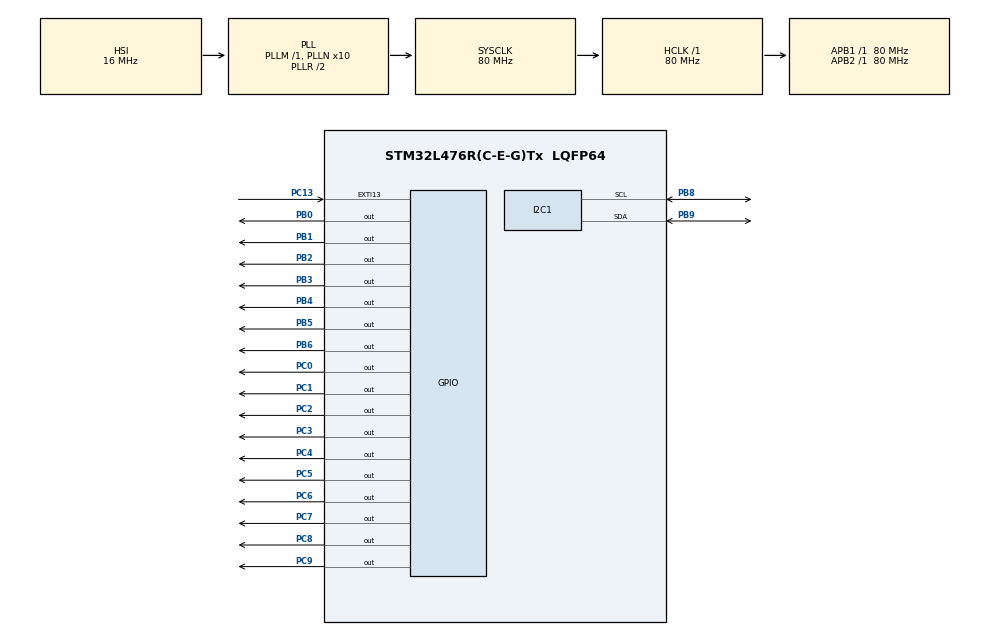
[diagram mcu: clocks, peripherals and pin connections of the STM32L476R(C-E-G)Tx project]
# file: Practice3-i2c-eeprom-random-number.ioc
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FREERTOS.Tasks01=defaultTask,24,128,StartDefaultTask,Default,NULL,Dynamic,NULL,NULL
I2C1.I2C_Fall_Time=0
I2C1.I2C_Rise_Time=0
I2C1.Timing=0x10909CEC
Mcu.Family=STM32L4
Mcu.Name=STM32L476R(C-E-G)Tx
Mcu.Package=LQFP64
NVIC.EXTI15_10_IRQn=true\:5\:0\:false\:false\:true\:true\:true\:true\:true
NVIC.PriorityGroup=NVIC_PRIORITYGROUP_4
NVIC.TIM2_IRQn=true\:5\:0\:false\:false\:true\:true\:true\:true\:true
PB0.Signal=GPIO_Output
PB1.Signal=GPIO_Output
PB2.Signal=GPIO_Output
PB3\ (JTDO-TRACESWO).Signal=GPIO_Output
PB4\ (NJTRST).Signal=GPIO_Output
PB5.Signal=GPIO_Output
PB6.Signal=GPIO_Output
PB8.Mode=I2C
PB8.Signal=I2C1_SCL
PB9.Mode=I2C
PB9.Signal=I2C1_SDA
PC0.Signal=GPIO_Output
PC1.Signal=GPIO_Output
PC13.GPIO_ModeDefaultEXTI=GPIO_MODE_IT_FALLING
PC13.Signal=GPXTI13
PC2.Signal=GPIO_Output
PC3.Signal=GPIO_Output
PC4.Signal=GPIO_Output
PC5.Signal=GPIO_Output
PC6.Signal=GPIO_Output
PC7.Signal=GPIO_Output
PC8.Signal=GPIO_Output
PC9.Signal=GPIO_Output
ProjectManager.HeapSize=0x200
ProjectManager.StackSize=0x400
ProjectManager.TargetToolchain=STM32CubeIDE
RCC.ADCFreq_Value=64000000
RCC.AHBFreq_Value=80000000
RCC.APB1Freq_Value=80000000
RCC.APB1TimFreq_Value=80000000
RCC.APB2Freq_Value=80000000
RCC.APB2TimFreq_Value=80000000
RCC.CortexFreq_Value=80000000
RCC.HCLKFreq_Value=80000000
RCC.HSE_VALUE=8000000
RCC.HSI_VALUE=16000000
RCC.LSE_VALUE=32768
RCC.MSI_VALUE=4000000
RCC.PLLN=10
RCC.PLLSourceVirtual=RCC_PLLSOURCE_HSI
RCC.PREFETCH_ENABLE=1
RCC.SYSCLKFreq_VALUE=80000000
RCC.SYSCLKSource=RCC_SYSCLKSOURCE_PLLCLK
RCC.USBFreq_Value=64000000
RCC.VCOOutputFreq_Value=160000000
TIM2.AutoReloadPreload=TIM_AUTORELOAD_PRELOAD_ENABLE
TIM2.ClockDivision=TIM_CLOCKDIVISION_DIV2
TIM2.CounterMode=TIM_COUNTERMODE_DOWN
TIM2.Period=7
TIM2.Prescaler=39999
VP_FREERTOS_VS_CMSIS_V2.Mode=CMSIS_V2
VP_TIM2_VS_ClockSourceINT.Mode=Internal
board=NUCLEO-L476RG

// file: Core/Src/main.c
/* USER CODE BEGIN Header */
/**
  ******************************************************************************
  * @file           : main.c
  * @brief          : Main program body
  ******************************************************************************
  * @attention
  *
  * Copyright (c) 2025 STMicroelectronics.
  * All rights reserved.
  *
  * This software is licensed under terms that can be found in the LICENSE file
  * in the root directory of this software component.
  * If no LICENSE file comes with this software, it is provided AS-IS.
  *
  ******************************************************************************
  */
/* USER CODE END Header */
#include "main.h"
#include "cmsis_os.h"

/* USER CODE BEGIN Includes */
#include "string.h"    //for strlen()
#include "stdio.h"    //for sprintf()
#include "stdlib.h"    //for srand()
#include "lcd.h"
/* USER CODE END Includes */

I2C_HandleTypeDef hi2c1;

TIM_HandleTypeDef htim2;

/* Definitions for defaultTask */
osThreadId_t defaultTaskHandle;
const osThreadAttr_t defaultTask_attributes = {
  .name = "defaultTask",
  .stack_size = 128 * 4,
  .priority = (osPriority_t) osPriorityNormal,
};

void SystemClock_Config(void);
static void MX_GPIO_Init(void);
static void MX_I2C1_Init(void);
static void MX_TIM2_Init(void);
void StartDefaultTask(void *argument);

/* USER CODE BEGIN 0 */

uint8_t click_flag = 0;
char I2C_ADDRESS = 0xA0;    //write address is 0xA0
char read_data[5] = {0};    //read data
uint8_t SevenSegmentStep = 0;    //7 segment display step
char DigitNumberArray[] = "    ";    //7 segment digit array

void HAL_GPIO_EXTI_Callback(uint16_t GPIO_Pin) {
  //click the onboard button
  if(GPIO_Pin == GPIO_PIN_13) {
	SevenSegmentStep = 0;    //reset 7 segment display step
	memset(DigitNumberArray, ' ', 4);    //reset 7 segment digit array
	click_flag = 1;    //click flag on
  }
}

//read EEPROM
void READ_EEPROM(uint16_t MemAddress, uint8_t *pData, uint16_t length) {
  uint8_t address[2];
  address[0] = (uint8_t)((MemAddress & 0xFF00) >> 8);    //move data to right
  address[1] = (uint8_t)(MemAddress & 0x00FF);    //retrieve the right data
  HAL_I2C_Master_Transmit(&hi2c1, I2C_ADDRESS, address, 2, HAL_MAX_DELAY);    //transmit read command
  HAL_I2C_Master_Receive(&hi2c1, (I2C_ADDRESS + 0x01), pData, length, HAL_MAX_DELAY);    //received data and storage data
}

//write EEPROM
void WRITE_EEPROM(uint16_t MemAddress, uint8_t *pData, uint16_t length) {
  uint8_t data[64];    //define the enough space for write address and write data
  data[0] = (uint8_t)((MemAddress & 0xFF00) >> 8);    //move data to right
  data[1] = (uint8_t)(MemAddress & 0x00FF);    //retrieve the right data
  memcpy(&data[2], pData, length);    //set the data to the new address
  HAL_I2C_Master_Transmit(&hi2c1, I2C_ADDRESS, data, length + 2, HAL_MAX_DELAY);    //transmit write command, the length should contain the address
  while(HAL_I2C_Master_Transmit(&hi2c1, I2C_ADDRESS, NULL, 0, HAL_MAX_DELAY) != HAL_OK);    //wait for transmit process
}

osThreadId_t EEPROMTaskHandle;
const osThreadAttr_t EEPROMTask_attributes = {
  .name = "EEPROMTask",
  .stack_size = 128 * 4,
  .priority = (osPriority_t) osPriorityNormal,
};

osThreadId_t LCDTaskHandle;
const osThreadAttr_t LCDTask_attributes = {
  .name = "LCDTask",
  .stack_size = 128 * 4,
  .priority = (osPriority_t) osPriorityNormal,
};

osThreadId_t SevenSegmentTaskHandle;
const osThreadAttr_t SevenSegmentTask_attributes = {
  .name = "SevenSegmentTask",
  .stack_size = 128 * 4,
  .priority = (osPriority_t) osPriorityNormal,
};

uint8_t DisplayLCDText = 0;
int8_t LCD_Step = 0;

void EEPROMTask(void *argument) {
  while (1) {
	if(click_flag == 1) {
	  click_flag = 0;    //reset flag
	  DisplayLCDText = 0;    //do not display LCD

	  LCD_Clear();    //clear LCD
	  LCD_Write_Cmd(0x06);    //DB1 -> On, automatic increment, DB0 - > off, display shift off
	  osDelay(5);    //delay

	  char write_data[5];    //write data
	  uint32_t seed = HAL_GetTick();   //tick seed
	  srand(seed);    //random seed
	  uint32_t rand_value = rand() % 10000;   // 0 ~ 9999
	  snprintf(write_data, sizeof(write_data), "%4lu", rand_value);    //char length is 4
	  LCD_Puts("Generate Number:");    //write string
	  LCD_GoTo_Position(1, 0);    //move to row 1, column 0
	  LCD_Puts(write_data);    //write sting

	  osDelay(2000);    //delay

	  LCD_Clear();    //clear LCD
	  LCD_Puts("Write EEPROM");    //write string
	  //write data
	  WRITE_EEPROM(0x0100, (uint8_t *)write_data, strlen(write_data));

	  osDelay(2000);    //delay

	  LCD_Clear();    //clear LCD
	  LCD_Puts("Read EEPROM");    //write string
	  //read data
	  READ_EEPROM(0x0100, (uint8_t *)read_data, 4);

	  osDelay(2000);    //delay

	  LCD_Clear();    //clear LCD
	  LCD_GoTo_Position(0, 1);    //move to row 0, column 1
	  LCD_Puts("Random Number:");    //write string
	  LCD_GoTo_Position(1, 6);    //move to row 1, column 6
	  LCD_Puts(read_data);    //write string
	  osDelay(3500);    //delay

	  LCD_Clear();    //clear LCD
	  LCD_Write_Cmd(0x07);    //DB1 -> On, automatic increment, DB0 - > on, display shift
	  osDelay(5);    //delay
	  LCD_GoTo_Position(0, 15);    //move to row 0

	  LCD_Step = 0;    //set initial LCD step
	  DisplayLCDText = 1;    //display LCD text
	}
	osDelay(1);    //delay
  }
}

char Line1[] = "Random Number:";

void LCDTask(void *argument) {
  while (1) {
	uint8_t length_line1 = strlen(Line1);    //line1 length
	uint8_t length_num = strlen(read_data);    //read data length
	if(DisplayLCDText == 1) {
	  if(LCD_Step < length_line1) {
		LCD_PutCh(Line1[LCD_Step]);    //line1 text
	  }
	  else if(LCD_Step >= length_line1
          && LCD_Step < (length_line1 + length_num)){
	    LCD_PutCh(read_data[LCD_Step - length_line1]);    //read data
	  }
	  else {
	     LCD_Puts(" ");    //space
	  }
	  LCD_Step++;    //next step
	  if(LCD_Step > (length_line1 + length_num + 14)) {
	    LCD_Step = 0;    //reset step
	    LCD_Clear();    //clear LCD
	    LCD_GoTo_Position(0, 15);    //move to row 0
	  }
    }
	osDelay(300);    //delay
  }
}

//array of register hex number
int LED_Hex[] = {
  0x3F,    // 0
  0x06,    // 1
  0x5B,    // 2
  0x4F,    // 3
  0x66,    // 4
  0x6D,    // 5
  0x7D,    // 6
  0x07,    // 7
  0x7F,    // 8
  0x6F     // 9
};

void SevenSegmentTask(void *argument) {
  while (1) {
	if(DisplayLCDText == 1) {
	  //7 segment display step
	  uint8_t text_length = strlen(read_data);    //read data length
	  uint8_t digit_position = 0;    //digit position
	  //increasing char number
	  if (SevenSegmentStep < text_length) {
		//space char
		for(int j = 0; j < (text_length - SevenSegmentStep - 1); j++) {
		  DigitNumberArray[digit_position] = ' ';
		  digit_position++;
		}
		//read data number
		for(int j = 0; j < (SevenSegmentStep + 1); j++) {
		  DigitNumberArray[digit_position] = read_data[j];
		  digit_position++;
		}
	  }
	  //decreasing char number
	  else if (SevenSegmentStep >= text_length) {
		//read data number
		for(int j = 0; j < text_length - (SevenSegmentStep + 1 - text_length); j++) {
		  DigitNumberArray[digit_position] = read_data[j + 1 + (SevenSegmentStep - text_length)];
		  digit_position++;
		}
		//space char
		for(int j = 0; j < (SevenSegmentStep - text_length + 1); j++) {
		  DigitNumberArray[digit_position] = ' ';
		  digit_position++;
		}
      }

	  //next step
	  SevenSegmentStep++;
	  if(SevenSegmentStep > 6) {
	    SevenSegmentStep = 0;
	  }
	}
	osDelay(750);    //delay
  }
}

//uint8_t ArrayLength = 4;    //array length
//Digit Array
int DigitArray[] = {GPIO_PIN_0, GPIO_PIN_1, GPIO_PIN_2, GPIO_PIN_3};

uint8_t DigitPosition = 0;    //digit position
void ProcessDisplayNumber() {
  uint8_t ArrayLength = strlen(DigitNumberArray);
  if(DisplayLCDText == 0) {
	HAL_GPIO_WritePin(GPIOC, DigitArray[DigitPosition], GPIO_PIN_RESET);    //disabled
	return;
  }
  //previous digit position
  uint8_t PreviousPosition = (DigitPosition == 0) ? (ArrayLength-1) : (DigitPosition-1);
  HAL_GPIO_WritePin(GPIOC, DigitArray[PreviousPosition], GPIO_PIN_RESET);    //disabled
  if(DigitNumberArray[DigitPosition] == ' ') {
	HAL_GPIO_WritePin(GPIOC, DigitArray[PreviousPosition], GPIO_PIN_RESET);    //disabled
  }
  else {
	uint8_t num = DigitNumberArray[DigitPosition] - '0';    //convert char to integer
    GPIOB -> ODR = LED_Hex[num];    //write to register
    HAL_GPIO_WritePin(GPIOC, DigitArray[DigitPosition], GPIO_PIN_SET);    //enabled
  }
}

void HAL_TIM_PeriodElapsedCallback(TIM_HandleTypeDef *htim){
  if(htim == &htim2) {
	uint8_t ArrayLength = strlen(DigitNumberArray);
    ProcessDisplayNumber();    //display 7 segment digit
    DigitPosition++;    //next digit position
    //reset to first digit position
    if(DigitPosition > ArrayLength-1) {
	  DigitPosition = 0;    //return to the first digit position
    }
  }
}
/* USER CODE END 0 */

int main(void)
{

  /* MCU Configuration--------------------------------------------------------*/

  /* Reset of all peripherals, Initializes the Flash interface and the Systick. */
  HAL_Init();

  /* Configure the system clock */
  SystemClock_Config();

  /* Initialize all configured peripherals */
  MX_GPIO_Init();
  MX_I2C1_Init();
  MX_TIM2_Init();
  /* USER CODE BEGIN 2 */

  HAL_I2C_Init(&hi2c1);    //I2C initialize
  LCD_initial();    //initialize lcd
  HAL_TIM_Base_Start_IT(&htim2);    //start timer

  //EEPROM task handler
  EEPROMTaskHandle = osThreadNew(EEPROMTask, NULL, &EEPROMTask_attributes);
  //LCD task handler
  LCDTaskHandle = osThreadNew(LCDTask, NULL, &LCDTask_attributes);
  //SevenSegment task handler
  SevenSegmentTaskHandle = osThreadNew(SevenSegmentTask, NULL, &SevenSegmentTask_attributes);

  /* USER CODE END 2 */

  /* Init scheduler */
  osKernelInitialize();

  /* Create the thread(s) */
  /* creation of defaultTask */
  defaultTaskHandle = osThreadNew(StartDefaultTask, NULL, &defaultTask_attributes);

  /* Start scheduler */
  osKernelStart();

  /* We should never get here as control is now taken by the scheduler */

  /* Infinite loop */
  while (1)
  {

  }
}

void SystemClock_Config(void)
{
  RCC_OscInitTypeDef RCC_OscInitStruct = {0};
  RCC_ClkInitTypeDef RCC_ClkInitStruct = {0};

  /** Configure the main internal regulator output voltage
  */
  if (HAL_PWREx_ControlVoltageScaling(PWR_REGULATOR_VOLTAGE_SCALE1) != HAL_OK)
  {
    Error_Handler();
  }

  /** Initializes the RCC Oscillators according to the specified parameters
  * in the RCC_OscInitTypeDef structure.
  */
  RCC_OscInitStruct.OscillatorType = RCC_OSCILLATORTYPE_HSI;
  RCC_OscInitStruct.HSIState = RCC_HSI_ON;
  RCC_OscInitStruct.HSICalibrationValue = RCC_HSICALIBRATION_DEFAULT;
  RCC_OscInitStruct.PLL.PLLState = RCC_PLL_ON;
  RCC_OscInitStruct.PLL.PLLSource = RCC_PLLSOURCE_HSI;
  RCC_OscInitStruct.PLL.PLLM = 1;
  RCC_OscInitStruct.PLL.PLLN = 10;
  RCC_OscInitStruct.PLL.PLLP = RCC_PLLP_DIV7;
  RCC_OscInitStruct.PLL.PLLQ = RCC_PLLQ_DIV2;
  RCC_OscInitStruct.PLL.PLLR = RCC_PLLR_DIV2;
  if (HAL_RCC_OscConfig(&RCC_OscInitStruct) != HAL_OK)
  {
    Error_Handler();
  }

  /** Initializes the CPU, AHB and APB buses clocks
  */
  RCC_ClkInitStruct.ClockType = RCC_CLOCKTYPE_HCLK|RCC_CLOCKTYPE_SYSCLK
                              |RCC_CLOCKTYPE_PCLK1|RCC_CLOCKTYPE_PCLK2;
  RCC_ClkInitStruct.SYSCLKSource = RCC_SYSCLKSOURCE_PLLCLK;
  RCC_ClkInitStruct.AHBCLKDivider = RCC_SYSCLK_DIV1;
  RCC_ClkInitStruct.APB1CLKDivider = RCC_HCLK_DIV1;
  RCC_ClkInitStruct.APB2CLKDivider = RCC_HCLK_DIV1;

  if (HAL_RCC_ClockConfig(&RCC_ClkInitStruct, FLASH_LATENCY_4) != HAL_OK)
  {
    Error_Handler();
  }
}

static void MX_I2C1_Init(void)
{

  hi2c1.Instance = I2C1;
  hi2c1.Init.Timing = 0x10909CEC;
  hi2c1.Init.OwnAddress1 = 0;
  hi2c1.Init.AddressingMode = I2C_ADDRESSINGMODE_7BIT;
  hi2c1.Init.DualAddressMode = I2C_DUALADDRESS_DISABLE;
  hi2c1.Init.OwnAddress2 = 0;
  hi2c1.Init.OwnAddress2Masks = I2C_OA2_NOMASK;
  hi2c1.Init.GeneralCallMode = I2C_GENERALCALL_DISABLE;
  hi2c1.Init.NoStretchMode = I2C_NOSTRETCH_DISABLE;
  if (HAL_I2C_Init(&hi2c1) != HAL_OK)
  {
    Error_Handler();
  }

  /** Configure Analogue filter
  */
  if (HAL_I2CEx_ConfigAnalogFilter(&hi2c1, I2C_ANALOGFILTER_ENABLE) != HAL_OK)
  {
    Error_Handler();
  }

  /** Configure Digital filter
  */
  if (HAL_I2CEx_ConfigDigitalFilter(&hi2c1, 0) != HAL_OK)
  {
    Error_Handler();
  }

}

static void MX_TIM2_Init(void)
{

  TIM_ClockConfigTypeDef sClockSourceConfig = {0};
  TIM_MasterConfigTypeDef sMasterConfig = {0};

  htim2.Instance = TIM2;
  htim2.Init.Prescaler = 39999;
  htim2.Init.CounterMode = TIM_COUNTERMODE_DOWN;
  htim2.Init.Period = 7;
  htim2.Init.ClockDivision = TIM_CLOCKDIVISION_DIV2;
  htim2.Init.AutoReloadPreload = TIM_AUTORELOAD_PRELOAD_ENABLE;
  if (HAL_TIM_Base_Init(&htim2) != HAL_OK)
  {
    Error_Handler();
  }
  sClockSourceConfig.ClockSource = TIM_CLOCKSOURCE_INTERNAL;
  if (HAL_TIM_ConfigClockSource(&htim2, &sClockSourceConfig) != HAL_OK)
  {
    Error_Handler();
  }
  sMasterConfig.MasterOutputTrigger = TIM_TRGO_RESET;
  sMasterConfig.MasterSlaveMode = TIM_MASTERSLAVEMODE_DISABLE;
  if (HAL_TIMEx_MasterConfigSynchronization(&htim2, &sMasterConfig) != HAL_OK)
  {
    Error_Handler();
  }

}

static void MX_GPIO_Init(void)
{
  GPIO_InitTypeDef GPIO_InitStruct = {0};

  /* GPIO Ports Clock Enable */
  __HAL_RCC_GPIOC_CLK_ENABLE();
  __HAL_RCC_GPIOB_CLK_ENABLE();

  /*Configure GPIO pin Output Level */
  HAL_GPIO_WritePin(GPIOC, GPIO_PIN_0|GPIO_PIN_1|GPIO_PIN_2|GPIO_PIN_3
                          |GPIO_PIN_4|GPIO_PIN_5|GPIO_PIN_6|GPIO_PIN_7
                          |GPIO_PIN_8|GPIO_PIN_9, GPIO_PIN_RESET);

  /*Configure GPIO pin Output Level */
  HAL_GPIO_WritePin(GPIOB, GPIO_PIN_0|GPIO_PIN_1|GPIO_PIN_2|GPIO_PIN_3
                          |GPIO_PIN_4|GPIO_PIN_5|GPIO_PIN_6, GPIO_PIN_RESET);

  /*Configure GPIO pin : PC13 */
  GPIO_InitStruct.Pin = GPIO_PIN_13;
  GPIO_InitStruct.Mode = GPIO_MODE_IT_FALLING;
  GPIO_InitStruct.Pull = GPIO_NOPULL;
  HAL_GPIO_Init(GPIOC, &GPIO_InitStruct);

  /*Configure GPIO pins : PC0 PC1 PC2 PC3
                           PC4 PC5 PC6 PC7
                           PC8 PC9 */
  GPIO_InitStruct.Pin = GPIO_PIN_0|GPIO_PIN_1|GPIO_PIN_2|GPIO_PIN_3
                          |GPIO_PIN_4|GPIO_PIN_5|GPIO_PIN_6|GPIO_PIN_7
                          |GPIO_PIN_8|GPIO_PIN_9;
  GPIO_InitStruct.Mode = GPIO_MODE_OUTPUT_PP;
  GPIO_InitStruct.Pull = GPIO_NOPULL;
  GPIO_InitStruct.Speed = GPIO_SPEED_FREQ_LOW;
  HAL_GPIO_Init(GPIOC, &GPIO_InitStruct);

  /*Configure GPIO pins : PB0 PB1 PB2 PB3
                           PB4 PB5 PB6 */
  GPIO_InitStruct.Pin = GPIO_PIN_0|GPIO_PIN_1|GPIO_PIN_2|GPIO_PIN_3
                          |GPIO_PIN_4|GPIO_PIN_5|GPIO_PIN_6;
  GPIO_InitStruct.Mode = GPIO_MODE_OUTPUT_PP;
  GPIO_InitStruct.Pull = GPIO_NOPULL;
  GPIO_InitStruct.Speed = GPIO_SPEED_FREQ_LOW;
  HAL_GPIO_Init(GPIOB, &GPIO_InitStruct);

  /* EXTI interrupt init*/
  HAL_NVIC_SetPriority(EXTI15_10_IRQn, 5, 0);
  HAL_NVIC_EnableIRQ(EXTI15_10_IRQn);

}

void StartDefaultTask(void *argument)
{
  for(;;)
  {
    osDelay(1);
  }
}

void Error_Handler(void)
{
  __disable_irq();
  while (1)
  {
  }
}
